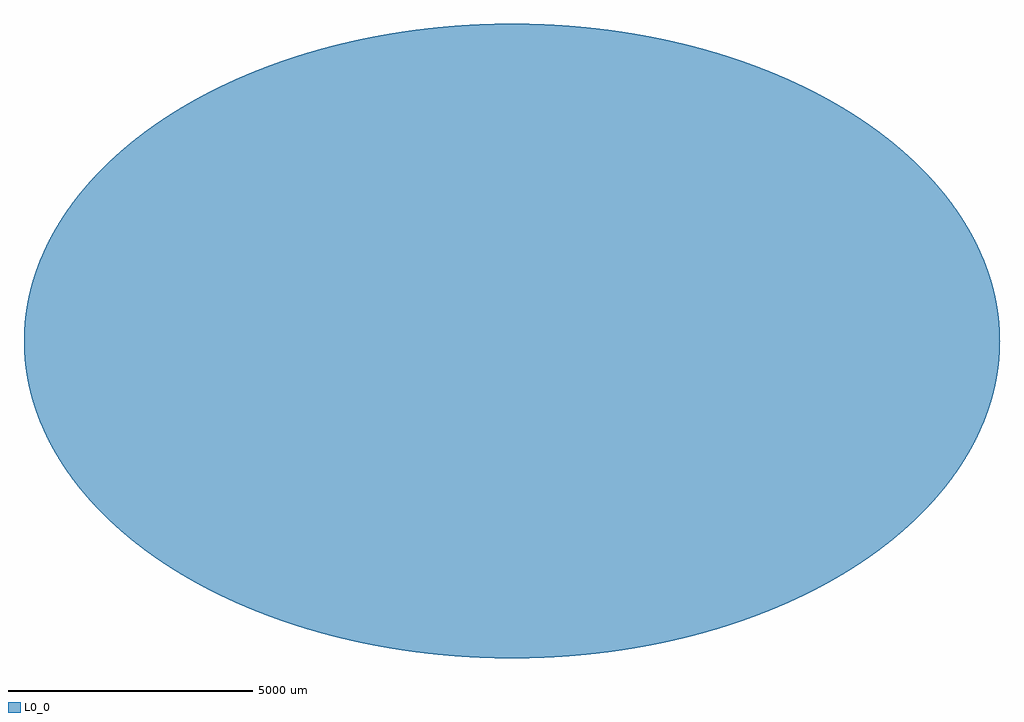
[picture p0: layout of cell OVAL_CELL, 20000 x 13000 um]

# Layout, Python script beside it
import gdspy
import numpy as np

# Create a new GDSII library
lib = gdspy.GdsLibrary()

# Create a new cell in the library
cell = lib.new_cell('OVAL_CELL')

# Define the center of the oval (ellipse)
center = (0, 0)

# Convert dimensions from millimeters to microns (1 mm = 1000 microns)
major_axis_length_mm = 20  # in millimeters
minor_axis_length_mm = 13  # in millimeters
major_axis_length = major_axis_length_mm * 1000  # in microns
minor_axis_length = minor_axis_length_mm * 1000  # in microns

# Calculate the radii of the ellipse (half of the axis lengths)
x_radius = major_axis_length / 2  # Radius along the x-axis
y_radius = minor_axis_length / 2  # Radius along the y-axis

# Create the oval using gdspy.Round with specified radii
oval = gdspy.Round(
    center,
    radius=(x_radius, y_radius),
    inner_radius=0,
    initial_angle=0,
    final_angle=2 * np.pi,
    tolerance=0.001,
    layer=0
)

# Add the oval to the cell
cell.add(oval)

# Save the library in a GDSII file
lib.write_gds('oval.gds')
